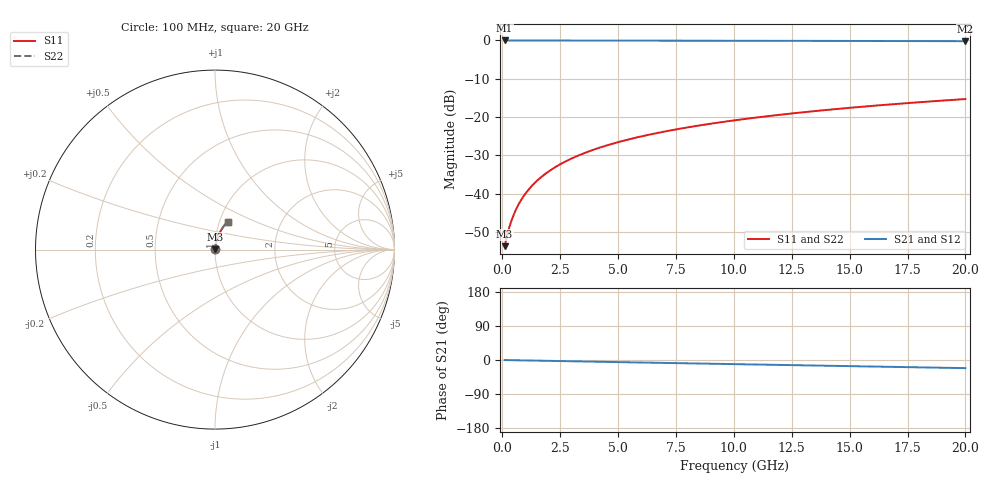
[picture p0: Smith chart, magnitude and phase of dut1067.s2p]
! Touchstone file exported from HFSS 2026.1.0
!  File:  C:/ffzhzh/LocalFiles/Ansys_Project_Files/temp_train_TMRDL_1067_1783160687_18472.aedt
!  Generated:  06:26:02 PM Jul  4, 2026
!  Design:  TMRDL
!  Project:  temp_train_TMRDL_1067_1783160687_18472
! Variables:
!  h_bsmrdl = 2um
!  h_ox = 20um
!  h_rdl = 5um
!  h_sub = 80um
!  h_tmrdl = 5.57um
!  h_tsv = 80um
!  h_via = 3um
!  l_bsmrdl = 300um
!  l_sub = 733.39um
!  l_tmrdl = 333.39um
!  m_sub = 200um
!  pitch = 27.08um
!  r_tsv = 6um
!  s_tmrdl = 10um
!  w_bsmrdl = 18um
!  w_sub = 500um
!  w_tmrdl = 12.76um
!  x_tsv_center1 = 339.77um
!  x_tsv_center2 = 657.77um
!  x_tsv_center3 = 1003.92um
!  x_tsv_center4 = 1321.92um
!  x_tsv_center5 = 1668.07um
!  x_tsv_center6 = 1986.07um
# GHz S MA R 50.000000
! Terminal data exported
! Port[1] = TM_RDL1_1_T1
! Port[2] = TM_RDL1_1_T2
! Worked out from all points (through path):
!   200 points, 100 MHz to 20 GHz, reference 50 ohm
!   highest |S21| = -0.02 dB at 100 MHz (marker M1); lowest = -0.2 dB at 20 GHz (marker M2)
!   group delay of S21, straight-line fit = 2.97 ps
!   lowest |S11| = -53.7 dB at 100 MHz (marker M3), VSWR 1.00, Z = 50.2 + j0.107 ohm
!   |S11| at or under -10 dB: start of sweep to end of sweep
!   |S22| runs from -53.7 to -15.3 dB; largest |S21 - S12| = 4e-15
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0.1  0.002061 31.2  0.9982 -0.1  0.9982 -0.1  0.002061 31.2
! Gamma 0 0 0 0
! Port Impedance 50 0 50 0
0.2  0.002784 48.5  0.9982 -0.2  0.9982 -0.2  0.002784 48.5
0.3  0.003614 57.8  0.9981 -0.3  0.9981 -0.3  0.003614 57.8
0.4  0.004483 63.6  0.998 -0.5  0.998 -0.5  0.004483 63.6
0.5  0.005374 67.6  0.998 -0.6  0.998 -0.6  0.005374 67.6
0.6  0.006282 70.4  0.9979 -0.7  0.9979 -0.7  0.006282 70.4
0.8  0.008131 74.2  0.9979 -0.9  0.9979 -0.9  0.008131 74.2
1  0.01001 76.5  0.9978 -1.1  0.9978 -1.1  0.01001 76.4
1.2  0.01189 77.9  0.9977 -1.4  0.9977 -1.4  0.01189 77.9
1.4  0.01379 78.9  0.9976 -1.6  0.9976 -1.6  0.01379 78.9
1.7  0.01663 79.8  0.9974 -1.9  0.9974 -1.9  0.01663 79.8
2.2  0.02134 80.5  0.9971 -2.5  0.9971 -2.5  0.02134 80.5
2.8  0.02695 80.6  0.9967 -3.1  0.9967 -3.1  0.02695 80.6
3.5  0.0334 80.4  0.9961 -3.9  0.9961 -3.9  0.0334 80.4
4.2  0.03977 80.0  0.9955 -4.7  0.9955 -4.7  0.03977 80.0
5  0.04695 79.4  0.9948 -5.6  0.9948 -5.6  0.04695 79.4
6.8  0.0628 77.9  0.993 -7.5  0.993 -7.5  0.0628 77.9
8.3  0.07577 76.6  0.9915 -9.1  0.9915 -9.1  0.07577 76.6
10.1  0.09112 75.0  0.9896 -11.0  0.9896 -11.0  0.09112 75.0
13.4  0.1187 72.0  0.9857 -14.6  0.9857 -14.6  0.1187 72.0
16.7  0.1455 68.8  0.9813 -18.0  0.9813 -18.0  0.1455 68.8
20  0.1715 65.6  0.9765 -21.5  0.9765 -21.5  0.1715 65.6
